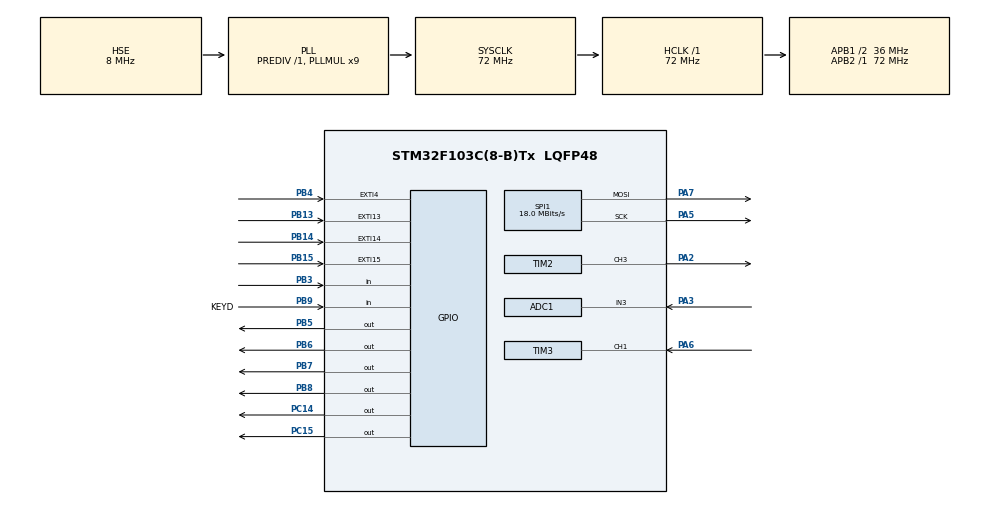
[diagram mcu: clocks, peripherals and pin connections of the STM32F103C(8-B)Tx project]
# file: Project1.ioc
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ADC1.Channel-0\#ChannelRegularConversion=ADC_CHANNEL_3
ADC1.ContinuousConvMode=ENABLE
ADC1.ExternalTrigConv=ADC_SOFTWARE_START
ADC1.NbrOfConversion=1
ADC1.NbrOfConversionFlag=1
ADC1.Rank-0\#ChannelRegularConversion=1
ADC1.SamplingTime-0\#ChannelRegularConversion=ADC_SAMPLETIME_239CYCLES_5
ADC1.master=1
Dma.ADC1.0.Direction=DMA_PERIPH_TO_MEMORY
Dma.ADC1.0.Instance=DMA1_Channel1
Dma.ADC1.0.MemDataAlignment=DMA_MDATAALIGN_HALFWORD
Dma.ADC1.0.MemInc=DMA_MINC_ENABLE
Dma.ADC1.0.Mode=DMA_NORMAL
Dma.ADC1.0.PeriphDataAlignment=DMA_PDATAALIGN_HALFWORD
Dma.ADC1.0.PeriphInc=DMA_PINC_DISABLE
Dma.ADC1.0.Priority=DMA_PRIORITY_LOW
Dma.Request0=ADC1
Mcu.Family=STM32F1
Mcu.Name=STM32F103C(8-B)Tx
Mcu.Package=LQFP48
NVIC.DMA1_Channel1_IRQn=true\:0\:0\:false\:false\:true\:false\:true\:true
NVIC.EXTI15_10_IRQn=true\:0\:0\:false\:false\:true\:true\:true\:true
NVIC.EXTI4_IRQn=true\:0\:0\:false\:false\:true\:true\:true\:true
NVIC.PriorityGroup=NVIC_PRIORITYGROUP_4
NVIC.TIM3_IRQn=true\:0\:0\:false\:false\:true\:true\:true\:true
PA13.Mode=Serial_Wire
PA13.Signal=SYS_JTMS-SWDIO
PA14.Mode=Serial_Wire
PA14.Signal=SYS_JTCK-SWCLK
PA2.Signal=S_TIM2_CH3
PA3.Signal=ADCx_IN3
PA5.Mode=TX_Only_Simplex_Unidirect_Master
PA5.Signal=SPI1_SCK
PA6.Signal=S_TIM3_CH1
PA7.Mode=TX_Only_Simplex_Unidirect_Master
PA7.Signal=SPI1_MOSI
PB13.GPIO_ModeDefaultEXTI=GPIO_MODE_IT_FALLING
PB13.GPIO_PuPd=GPIO_PULLUP
PB13.Signal=GPXTI13
PB14.GPIO_ModeDefaultEXTI=GPIO_MODE_IT_FALLING
PB14.GPIO_PuPd=GPIO_PULLUP
PB14.Signal=GPXTI14
PB15.GPIO_ModeDefaultEXTI=GPIO_MODE_IT_FALLING
PB15.GPIO_PuPd=GPIO_PULLUP
PB15.Signal=GPXTI15
PB3.GPIO_PuPd=GPIO_PULLUP
PB3.Signal=GPIO_Input
PB4.GPIO_ModeDefaultEXTI=GPIO_MODE_IT_RISING_FALLING
PB4.GPIO_PuPd=GPIO_PULLUP
PB4.Signal=GPXTI4
PB5.PinState=GPIO_PIN_SET
PB5.Signal=GPIO_Output
PB6.PinState=GPIO_PIN_SET
PB6.Signal=GPIO_Output
PB7.PinState=GPIO_PIN_SET
PB7.Signal=GPIO_Output
PB8.PinState=GPIO_PIN_SET
PB8.Signal=GPIO_Output
PB9.GPIO_Label=KEYD
PB9.GPIO_PuPd=GPIO_PULLUP
PB9.Signal=GPIO_Input
PC14-OSC32_IN.Signal=GPIO_Output
PC15-OSC32_OUT.GPIO_PuPd=GPIO_NOPULL
PC15-OSC32_OUT.Signal=GPIO_Output
PD0-OSC_IN.Mode=HSE-External-Oscillator
PD0-OSC_IN.Signal=RCC_OSC_IN
PD1-OSC_OUT.Mode=HSE-External-Oscillator
PD1-OSC_OUT.Signal=RCC_OSC_OUT
ProjectManager.HeapSize=0x200
ProjectManager.StackSize=0x400
ProjectManager.TargetToolchain=CMake
RCC.ADCPresc=RCC_ADCPCLK2_DIV6
RCC.AHBFreq_Value=72000000
RCC.APB1CLKDivider=RCC_HCLK_DIV2
RCC.APB1Freq_Value=36000000
RCC.APB1TimFreq_Value=72000000
RCC.APB2Freq_Value=72000000
RCC.APB2TimFreq_Value=72000000
RCC.HCLKFreq_Value=72000000
RCC.PLLMUL=RCC_PLL_MUL9
RCC.PLLSourceVirtual=RCC_PLLSOURCE_HSE
RCC.SYSCLKFreq_VALUE=72000000
RCC.SYSCLKSource=RCC_SYSCLKSOURCE_PLLCLK
RCC.USBFreq_Value=72000000
SH.ADCx_IN3.0=ADC1_IN3,IN3
SH.S_TIM2_CH3.0=TIM2_CH3,PWM Generation3 CH3
SH.S_TIM3_CH1.0=TIM3_CH1,PWM_Input_1
SPI1.BaudRatePrescaler=SPI_BAUDRATEPRESCALER_4
SPI1.CLKPhase=SPI_PHASE_2EDGE
SPI1.CLKPolarity=SPI_POLARITY_HIGH
SPI1.CalculateBaudRate=18.0 MBits/s
SPI1.Direction=SPI_DIRECTION_2LINES
SPI1.Mode=SPI_MODE_MASTER
SPI1.VirtualType=VM_MASTER
TIM2.Channel-PWM\ Generation3\ CH3=TIM_CHANNEL_3
TIM2.Period=999
TIM2.Prescaler=71
TIM2.Pulse-PWM\ Generation3\ CH3=500
TIM3.ICFilter_1=0
TIM3.Period=65535
TIM3.TIM_MasterOutputTrigger=TIM_TRGO_UPDATE
VP_TIM2_VS_ClockSourceINT.Mode=Internal
VP_TIM3_VS_ClockSourceINT.Mode=Internal
board=custom

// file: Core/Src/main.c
/* USER CODE BEGIN Header */
/**
  ******************************************************************************
  * @file           : main.c
  * @brief          : Main program body
  ******************************************************************************
  * @attention
  *
  * Copyright (c) 2026 STMicroelectronics.
  * All rights reserved.
  *
  * This software is licensed under terms that can be found in the LICENSE file
  * in the root directory of this software component.
  * If no LICENSE file comes with this software, it is provided AS-IS.
  *
  ******************************************************************************
  */
/* USER CODE END Header */
#include "main.h"
#include "adc.h"
#include "dma.h"
#include "spi.h"
#include "tim.h"
#include "gpio.h"

/* USER CODE BEGIN Includes */
#include "tft.h"
#include "tft_init.h"
/* USER CODE END Includes */

/* USER CODE BEGIN PD */
/* 1 = 信号经板上模拟前端到 PA3 (voltage = 5-2*V)
   0 = PA2 直接短接 PA3, 输入 0~3.3V (voltage = adc*3.3/4095) */
#define OSC_FRONTEND 1
/* USER CODE END PD */

/* USER CODE BEGIN PV */
#define ADC_VALUE_NUM 300U
/* USER CODE END PV */

void SystemClock_Config(void);
/* USER CODE BEGIN PFP */
void Init_Oscilloscope(volatile struct Oscilloscope *value);
/* USER CODE END PFP */

/* USER CODE BEGIN 0 */
volatile struct Oscilloscope oscilloscope = {0};
uint16_t adc_value[ADC_VALUE_NUM];
/* USER CODE END 0 */

int main(void)
{

  /* USER CODE BEGIN 1 */
  uint16_t i = 0, Trigger_number = 0;
  float tempValue = 0, max_data = 1.0f;
  float gainFactor = 0, median = 0;
  float voltage = 0, min = 0;
  float calibration_vol = 0.15f;
  /* USER CODE END 1 */

  /* MCU Configuration--------------------------------------------------------*/

  /* Reset of all peripherals, Initializes the Flash interface and the Systick. */
  HAL_Init();

  /* Configure the system clock */
  SystemClock_Config();

  /* Initialize all configured peripherals */
  MX_GPIO_Init();
  MX_DMA_Init();
  MX_ADC1_Init();
  MX_TIM3_Init();
  MX_SPI1_Init();
  MX_TIM2_Init();
  /* USER CODE BEGIN 2 */
  __HAL_TIM_SET_PRESCALER(&htim3, 71);   /* 计数时钟 1MHz -> 最低可测 ~15Hz（原 72MHz 会溢出到 1098Hz 以下）*/
  HAL_TIM_IC_Start_IT(&htim3, TIM_CHANNEL_1);
  Init_Oscilloscope(&oscilloscope);
  HAL_Delay(1000);
  TFT_Init();
  HAL_Delay(1000);   /* power-on reset of the panel is not sync'd with MCU -> init twice */
  TFT_Init();
  TFT_Fill(0, 0, 160, 128, BLACK);
  TFT_StaticUI();

  HAL_ADC_Start_DMA(&hadc1, (uint32_t *)adc_value, ADC_VALUE_NUM);
  /* USER CODE END 2 */

  /* Infinite loop */
  while (1)
  {

    /* USER CODE BEGIN 3 */
    Key_Sacnf(&oscilloscope);
    Key_Handle(&oscilloscope);

    if (oscilloscope.showbit == 1)
    {
      oscilloscope.showbit = 0;
      oscilloscope.vpp = 0;
      min = 9999;
      for (i = 0; i < 300; i++)
      {
        tempValue = (adc_value[i] * 3.3f) / 4095.0f;
#if OSC_FRONTEND
        oscilloscope.voltageValue[i] = (5 - (2.0f * tempValue));
#else
        oscilloscope.voltageValue[i] = tempValue;
#endif
        if ((oscilloscope.vpp) < oscilloscope.voltageValue[i])
        {
          oscilloscope.vpp = oscilloscope.voltageValue[i];
        }
        if (min > oscilloscope.voltageValue[i])
        {
          min = oscilloscope.voltageValue[i];
        }
        if (oscilloscope.vpp <= 0.3)
        {
          oscilloscope.gatherFreq = 0;
        }
      }
      oscilloscope.vpp = oscilloscope.vpp - calibration_vol;
      HAL_ADC_Start_DMA(&hadc1, (uint32_t *)adc_value, ADC_VALUE_NUM);

      /* trigger: find the first rising crossing above max_data within the first 200 points */
      for (i = 0; i < 200; i++)
      {
        if (oscilloscope.voltageValue[i] < max_data)
        {
          for (; i < 200; i++)
          {
            if (oscilloscope.voltageValue[i] > max_data)
            {
              Trigger_number = i;
              break;
            }
          }
          break;
        }
      }

      if (oscilloscope.vpp > 0.3)
      {
        if (min < -0.3)
        {
          median = oscilloscope.vpp;
        }
        else
        {
          median = oscilloscope.vpp / 2.0f;
        }
        /* keep the amplified waveform fixed in rows 18.75..41.25 -> 11.25 half-span */
        gainFactor = 11.25f / median;
      }

      for (i = Trigger_number; i < Trigger_number + 100; i++)
      {
        KEYD_SCAN(&oscilloscope);
        if (oscilloscope.keyValue == KEYDPRESS)     /* pause: wait until KEYD pressed again */
        {
          oscilloscope.keyValue = NoPRESS;
          do
          {
            KEYD_SCAN(&oscilloscope);
            if (oscilloscope.keyValue == KEYDPRESS)
            {
              oscilloscope.keyValue = NoPRESS;
              break;
            }
          } while (1);
        }
        if (min < -0.3)
        {
          voltage = oscilloscope.voltageValue[i] + oscilloscope.vpp;
        }
        else
        {
          voltage = oscilloscope.voltageValue[i];
        }
        if (voltage >= median)
        {
          voltage = 30 + (voltage - median) * gainFactor;
        }
        else
        {
          voltage = 30 - (median - voltage) * gainFactor;
        }
        drawCurve(80, voltage);
      }
    }

    TFT_ShowUI(&oscilloscope);
  }
  /* USER CODE END 3 */
}

void SystemClock_Config(void)
{
  RCC_OscInitTypeDef RCC_OscInitStruct = {0};
  RCC_ClkInitTypeDef RCC_ClkInitStruct = {0};
  RCC_PeriphCLKInitTypeDef PeriphClkInit = {0};

  /** Initializes the RCC Oscillators according to the specified parameters
  * in the RCC_OscInitTypeDef structure.
  */
  RCC_OscInitStruct.OscillatorType = RCC_OSCILLATORTYPE_HSE;
  RCC_OscInitStruct.HSEState = RCC_HSE_ON;
  RCC_OscInitStruct.HSEPredivValue = RCC_HSE_PREDIV_DIV1;
  RCC_OscInitStruct.HSIState = RCC_HSI_ON;
  RCC_OscInitStruct.PLL.PLLState = RCC_PLL_ON;
  RCC_OscInitStruct.PLL.PLLSource = RCC_PLLSOURCE_HSE;
  RCC_OscInitStruct.PLL.PLLMUL = RCC_PLL_MUL9;
  if (HAL_RCC_OscConfig(&RCC_OscInitStruct) != HAL_OK)
  {
    Error_Handler();
  }

  /** Initializes the CPU, AHB and APB buses clocks
  */
  RCC_ClkInitStruct.ClockType = RCC_CLOCKTYPE_HCLK|RCC_CLOCKTYPE_SYSCLK
                              |RCC_CLOCKTYPE_PCLK1|RCC_CLOCKTYPE_PCLK2;
  RCC_ClkInitStruct.SYSCLKSource = RCC_SYSCLKSOURCE_PLLCLK;
  RCC_ClkInitStruct.AHBCLKDivider = RCC_SYSCLK_DIV1;
  RCC_ClkInitStruct.APB1CLKDivider = RCC_HCLK_DIV2;
  RCC_ClkInitStruct.APB2CLKDivider = RCC_HCLK_DIV1;

  if (HAL_RCC_ClockConfig(&RCC_ClkInitStruct, FLASH_LATENCY_2) != HAL_OK)
  {
    Error_Handler();
  }
  PeriphClkInit.PeriphClockSelection = RCC_PERIPHCLK_ADC;
  PeriphClkInit.AdcClockSelection = RCC_ADCPCLK2_DIV6;
  if (HAL_RCCEx_PeriphCLKConfig(&PeriphClkInit) != HAL_OK)
  {
    Error_Handler();
  }
}

/* USER CODE BEGIN 4 */
void Init_Oscilloscope(volatile struct Oscilloscope *value)
{
  (*value).showbit    = 0;
  (*value).sampletime = ADC_SAMPLETIME_239CYCLES_5;
  (*value).keyValue   = 0;
  (*value).ouptputbit = 0;
  (*value).gatherFreq = 0;
  (*value).outputFreq = 1000;
  (*value).pwmOut     = 500;
  (*value).timerPeriod = 1000;
  (*value).vpp        = 0.0f;
}

void HAL_TIM_IC_CaptureCallback(TIM_HandleTypeDef *htim)
{
  if (htim->Instance == TIM3 && htim->Channel == HAL_TIM_ACTIVE_CHANNEL_1)
  {
    uint32_t period = HAL_TIM_ReadCapturedValue(htim, TIM_CHANNEL_1);
    if (period != 0)
    {
      oscilloscope.gatherFreq = 1000000U / period;   /* TIM3 counter = 1MHz (PSC=71) */
    }
  }
}

void HAL_ADC_ConvCpltCallback(ADC_HandleTypeDef *hadc)
{
  if (hadc->Instance == ADC1)
  {
    oscilloscope.showbit = 1;
    HAL_ADC_Stop_DMA(&hadc1);
  }
}
/* USER CODE END 4 */

void Error_Handler(void)
{
  __disable_irq();
  while (1)
  {
  }
}
